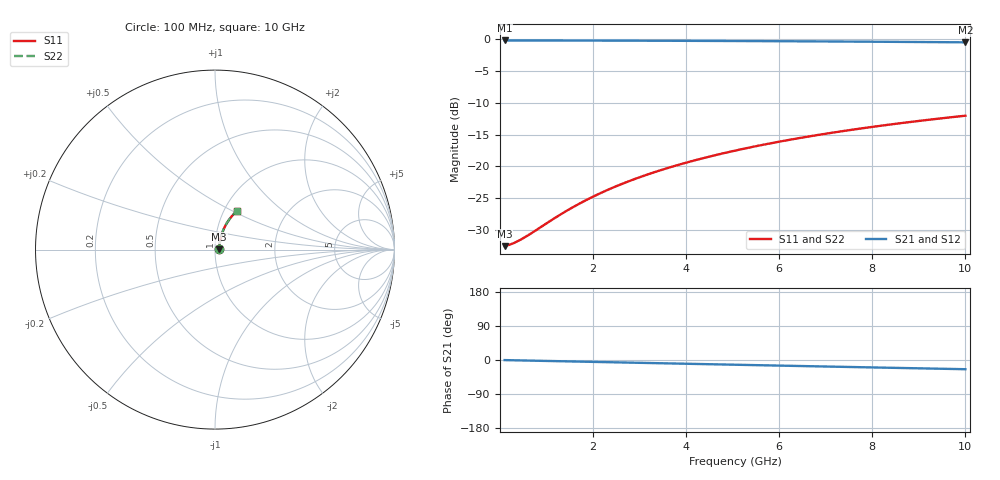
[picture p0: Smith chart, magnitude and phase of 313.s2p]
# Hz S RI R 50.00
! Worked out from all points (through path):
!   100 points, 100 MHz to 10 GHz, reference 50 ohm
!   highest |S21| = -0.21 dB at 100 MHz (marker M1); lowest = -0.5 dB at 10 GHz (marker M2)
!   group delay of S21, straight-line fit = 6.76 ps
!   lowest |S11| = -32.6 dB at 100 MHz (marker M3), VSWR 1.05, Z = 52.4 + j0.265 ohm
!   |S11| at or under -10 dB: start of sweep to end of sweep
!   |S22| runs from -32.6 to -12.0 dB; largest |S21 - S12| = 0
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1e8  0.0234 0.00252  0.9766 -0.00423  0.9766 -0.00423  0.0234 0.00252
2e8  0.0236 0.00504  0.9764 -0.00847  0.9764 -0.00847  0.0236 0.00504
3e8  0.0238 0.00756  0.9762 -0.0127  0.9762 -0.0127  0.0238 0.00756
5e8  0.0241 0.0126  0.9758 -0.0212  0.9758 -0.0212  0.0241 0.0126
7e8  0.0245 0.0176  0.9754 -0.0296  0.9754 -0.0296  0.0245 0.0176
1.3e9  0.0261 0.0326  0.9736 -0.0549  0.9736 -0.0549  0.0261 0.0326
1.6e9  0.0271 0.0401  0.9725 -0.0675  0.9725 -0.0675  0.0271 0.0401
1.8e9  0.0279 0.0451  0.9715 -0.0759  0.9715 -0.0759  0.0279 0.0451
2.1e9  0.0293 0.0525  0.97 -0.0884  0.97 -0.0884  0.0293 0.0525
2.5e9  0.0314 0.0623  0.9676 -0.1051  0.9676 -0.1051  0.0314 0.0623
2.9e9  0.0338 0.072  0.9649 -0.1217  0.9649 -0.1217  0.0338 0.072
3.4e9  0.0373 0.084  0.9609 -0.1422  0.9609 -0.1422  0.0373 0.084
3.8e9  0.0404 0.0935  0.9574 -0.1586  0.9574 -0.1586  0.0404 0.0935
4.2e9  0.0439 0.1028  0.9534 -0.1747  0.9534 -0.1747  0.0439 0.1028
4.6e9  0.0477 0.112  0.9491 -0.1908  0.9491 -0.1908  0.0477 0.112
5.1e9  0.0528 0.1233  0.9433 -0.2106  0.9433 -0.2106  0.0528 0.1233
5.9e9  0.0619 0.1407  0.9328 -0.2419  0.9328 -0.2419  0.0619 0.1407
6.7e9  0.0722 0.1574  0.921 -0.2723  0.921 -0.2723  0.0722 0.1574
7.5e9  0.0835 0.1733  0.908 -0.302  0.908 -0.302  0.0835 0.1733
8.4e9  0.0973 0.1901  0.892 -0.3343  0.892 -0.3343  0.0973 0.1901
9.2e9  0.1105 0.2039  0.8766 -0.362  0.8766 -0.362  0.1105 0.2039
1e10  0.1245 0.2168  0.8603 -0.3887  0.8603 -0.3887  0.1245 0.2168
